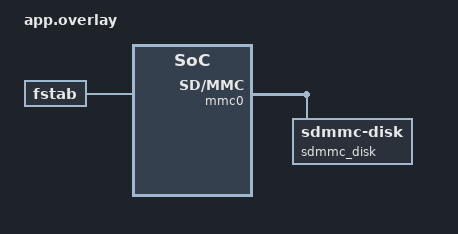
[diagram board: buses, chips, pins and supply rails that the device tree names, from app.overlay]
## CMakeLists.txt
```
# SPDX-License-Identifier: Apache-2.0
cmake_minimum_required(VERSION 3.20.0)

find_package(Zephyr REQUIRED HINTS $ENV{ZEPHYR_BASE})
project(emu6502)

# 递归收集 src/ 下所有 .c 源文件
FILE(GLOB_RECURSE app_sources src/*.c)
target_sources(app PRIVATE ${app_sources})

# NES 模拟核心模块头文件路径
target_include_directories(app PRIVATE
    src
    src/nes
    src/ui
    src/platform
)
```

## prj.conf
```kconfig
# ============================================================
# NES Emulator - lichee_zero (Allwinner V3s) 配置
# board defconfig 已提供: HEAP, SHELL, GPIO, CACHE, DISPLAY base
# ============================================================

# === 基础 ===
CONFIG_LOG=y
CONFIG_LOG_CMDS=y
CONFIG_LOG_BACKEND_UART=y
CONFIG_BOOT_BANNER=y
CONFIG_MAIN_STACK_SIZE=32768
CONFIG_MAIN_THREAD_PRIORITY=5

# === 调试: 故障转储 (FAULT_DUMP 是 int 类型: 0=禁用 1=基础 2=详细) ===
CONFIG_FAULT_DUMP=2

# === Shell (串口交互) ===
CONFIG_SHELL=y
CONFIG_SHELL_BACKEND_SERIAL=y
# CONFIG_SHELL_BACKEND_SSH is not set

# === 显示 + LVGL (与 hello_world 一致) ===
CONFIG_DISPLAY=y
CONFIG_LVGL=y
CONFIG_LV_Z_MEM_POOL_SIZE=524288
CONFIG_LV_Z_RUN_LVGL_ON_WORKQUEUE=y
CONFIG_LV_Z_FULL_REFRESH=y
CONFIG_LV_FONT_SOURCE_HAN_SANS_SC_14_CJK=y

# === 触摸屏输入 ===
CONFIG_INPUT=y
CONFIG_LV_Z_POINTER_INPUT=y

# === SD 卡 + 文件系统 (FatFS 只读挂载) ===
CONFIG_DISK_ACCESS=y
CONFIG_FILE_SYSTEM=y
CONFIG_FILE_SYSTEM_SHELL=y
CONFIG_FAT_FILESYSTEM_ELM=y
CONFIG_FS_FATFS_LFN=y
CONFIG_FS_FATFS_EXFAT=y
CONFIG_SDHC_SHELL=y

# === LVGL workqueue 栈增大 (默认 4096 太小, 渲染调用链深) ===
CONFIG_LV_Z_LVGL_WORKQUEUE_STACK_SIZE=16384

# === 动态内存 ===
# board defconfig 已设置 HEAP_MEM_POOL_SIZE=4121440 (4MB), 不在此覆盖
```

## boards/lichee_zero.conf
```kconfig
# NES Emulator - lichee_zero board-specific overrides
#
# Board defconfig already provides:
#   HEAP (4MB), SDHC, DISPLAY, I2C (touch), CACHE, GPIO, PWM (backlight)
# No additional board-level overrides needed.
# All app config is in prj.conf.
```

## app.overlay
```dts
/*
 * NES Emulator - lichee_zero DTS overlay
 *
 * SD 卡节点: V3s mmc0 连接 SD 卡槽, 使用 zephyr,sdmmc-disk
 * LCD 显示 + 触摸屏由 V3s board defconfig 预设, 无需在此声明
 */

&mmc0 {
	sdmmc_disk: sdmmc-disk {
		compatible = "zephyr,sdmmc-disk";
		disk-name = "SD";
		status = "okay";
	};
};

/ {
	fstab {
		compatible = "zephyr,fstab";

		sd_fs: sd_fs {
			compatible = "zephyr,fstab,fatfs";
			disk-access;
			mount-point = "/SD:";
		};
	};
};
```

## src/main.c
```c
/*
 * NES Emulator - Minimal: force NMI only
 */
#include "nes/nes_system.h"
#include "platform/sd_card.h"
#include "ui/ui_game.h"
#include <lvgl.h>
#include <lvgl_zephyr.h>
#include <string.h>
#include <zephyr/kernel.h>
#include <zephyr/logging/log.h>
LOG_MODULE_REGISTER(main, CONFIG_LOG_DEFAULT_LEVEL);
static nes_system_t nes_sys;
static struct k_thread emu_td;
static K_THREAD_STACK_DEFINE(emu_stk, 32768);
static void emu_thread(void *a, void *b, void *c) {
  while (1) {
    if (!nes_sys.running) {
      k_msleep(16);
      continue;
    }
    nes_system_run_frame(&nes_sys);
  }
}
static void lvgl_cb(lv_timer_t *t) {
  ui_game_blit_frame(nes_system_get_framebuffer(&nes_sys));
  static uint32_t c = 0;
  if (++c % 120 == 0) {
    uint8_t *v = nes_sys.ppu.vram;
    LOG_INF("f=%u PC=%04X VRAM:0=%02X 400=%02X 800=%02X C00=%02X",
            nes_sys.frame_count, nes_sys.cpu.pc, v[0], v[0x400], v[0x800],
            v[0xC00]);
  }
}
static int load(void) {
  char f[1][256];
  if (sd_card_list_nes("/SD:", f, 1) <= 0)
    return -1;
  char p[320];
  snprintk(p, sizeof(p), "/SD:/%s", f[0]);
  uint8_t *d;
  size_t s;
  if (sd_card_load_rom(p, &d, &s) < 0)
    return -1;
  int r = nes_system_load_rom(&nes_sys, d, s, p);
  k_free(d);
  return r;
}
int main(void) {
  sd_card_init();
  nes_system_init(&nes_sys);
  lvgl_lock();
  ui_game_create(lv_scr_act());
  lv_timer_create(lvgl_cb, 16, NULL);
  lvgl_unlock();
  if (load() == 0) {
    nes_sys.running = true;
  }
  k_thread_create(&emu_td, emu_stk, 32768, emu_thread, NULL, NULL, NULL, 50, 0,
                  K_NO_WAIT);
  while (1) {
    lvgl_lock();
    lv_timer_handler();
    lvgl_unlock();
    k_msleep(5);
  }
  return 0;
}
```
